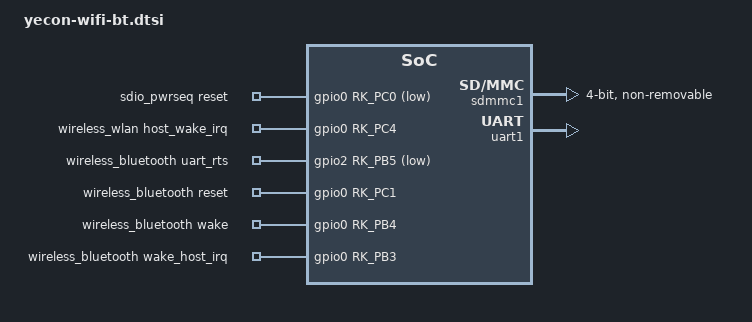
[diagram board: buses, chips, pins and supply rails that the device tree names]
/ {
	sdio_pwrseq: sdio-pwrseq {
		compatible = "mmc-pwrseq-simple";
		clocks = <&rk809 1>;
		clock-names = "ext_clock";
		pinctrl-names = "default";
		pinctrl-0 = <&wifi_enable_h>;

		/*
		 * On the module itself this is one of these (depending
		 * on the actual card populated):
		 * - SDIO_RESET_L_WL_REG_ON
		 * - PDN (power down when low)
		 */
		post-power-on-delay-ms = <200>;
		reset-gpios = <&gpio0 RK_PC0 GPIO_ACTIVE_LOW>;
		status = "okay";
	};

	wireless_wlan: wireless-wlan {
		compatible = "wlan-platdata";
        pinctrl-names = "default";
        pinctrl-0 = <&wifi_host_wake_irq>;
        WIFI,host_wake_irq = <&gpio0 RK_PC4 GPIO_ACTIVE_HIGH>;
		rockchip,grf = <&grf>;
		wifi_chip_type = "ap6212";
		status = "okay";
	};

	wireless_bluetooth: wireless-bluetooth {
		compatible = "bluetooth-platdata";
		clocks = <&rk809 1>;
		clock-names = "ext_clock";
		wifi-bt-power-toggle;
		uart_rts_gpios = <&gpio2 RK_PB5 GPIO_ACTIVE_LOW>;
		pinctrl-names = "default", "rts_gpio";
		pinctrl-0 = <&uart1m0_rtsn>;
		pinctrl-1 = <&uart1_gpios>;
        BT,reset_gpio    = <&gpio0 RK_PC1 GPIO_ACTIVE_HIGH>;
        BT,wake_gpio     = <&gpio0 RK_PB4 GPIO_ACTIVE_HIGH>;
        BT,wake_host_irq = <&gpio0 RK_PB3 GPIO_ACTIVE_HIGH>;
		status = "okay";
	};
};

/* wifi bt */
&sdmmc1 {
	max-frequency = <150000000>;
	supports-sdio;
	bus-width = <4>;
	disable-wp;
	cap-sd-highspeed;
	cap-sdio-irq;
	keep-power-in-suspend;
	mmc-pwrseq = <&sdio_pwrseq>;
	non-removable;
	pinctrl-names = "default";
	pinctrl-0 = <&sdmmc1_bus4 &sdmmc1_cmd &sdmmc1_clk>;
	sd-uhs-sdr104;
	status = "okay";
};

/* bt */
&uart1 {
	status = "okay";
	pinctrl-names = "default";
	pinctrl-0 = <&uart1m0_xfer &uart1m0_ctsn>;
};

&pinctrl {
	sdio-pwrseq {
		wifi_enable_h: wifi-enable-h {
			rockchip,pins = <0 RK_PC0 RK_FUNC_GPIO &pcfg_pull_none>;
		};
	};

	wireless-wlan {
		wifi_host_wake_irq: wifi-host-wake-irq {
			rockchip,pins = <0 RK_PC4 RK_FUNC_GPIO &pcfg_pull_down>;
		};
	};

	wireless-bluetooth {
		uart1_gpios: uart1-gpios {
			rockchip,pins = <2 RK_PB5 RK_FUNC_GPIO &pcfg_pull_none>;
		};
	};
};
